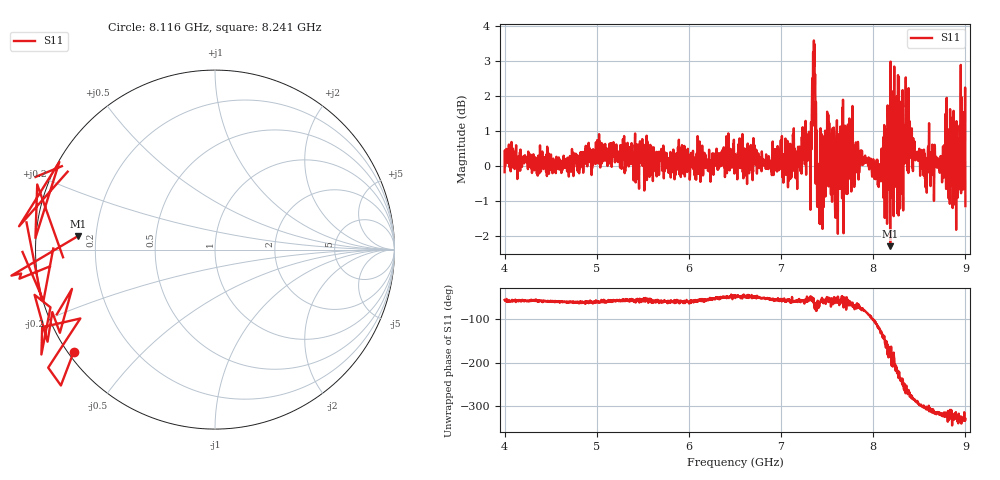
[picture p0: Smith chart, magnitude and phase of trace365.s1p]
! Created with skrf 1.8.0 (http://scikit-rf.org).
# Hz S RI R 50.0
!freq ReS11 ImS11
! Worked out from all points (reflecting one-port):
!   1601 points, 4 GHz to 9 GHz, reference 50 ohm
!   lowest |S11| = -2.3 dB at 8.184 GHz (marker M1), VSWR 7.61, Z = 6.59 + j2.4 ohm
!   phase of S11 starts at -56 deg and turns -274 deg over the sweep
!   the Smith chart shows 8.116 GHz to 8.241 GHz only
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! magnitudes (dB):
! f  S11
! 4 GHz  -0.2
! 4.625 GHz  -0.1
! 5.25 GHz  0.2
! 5.875 GHz  0.1
! 6.5 GHz  0.3
! 7.125 GHz  0.3
! 7.294 GHz  0.2
! 7.319 GHz  -1.3
! 7.347 GHz  3.3
! 7.362 GHz  3.5
! 7.4 GHz  -0.2
! 7.412 GHz  -1.0
! 7.512 GHz  1.5
! 7.609 GHz  -0.6
! 7.65 GHz  0.9
! 7.703 GHz  -0.8
! 7.75 GHz  -0.2
! 8.062 GHz  0.0
! 8.184 GHz  -2.3
! 8.253 GHz  0.5
! 8.312 GHz  0.9
! 8.334 GHz  0.1
! 8.375 GHz  0.7
! 8.556 GHz  -0.3
! 8.809 GHz  0.9
! 8.906 GHz  0.1
! 8.972 GHz  0.8
! 9 GHz  -1.1
